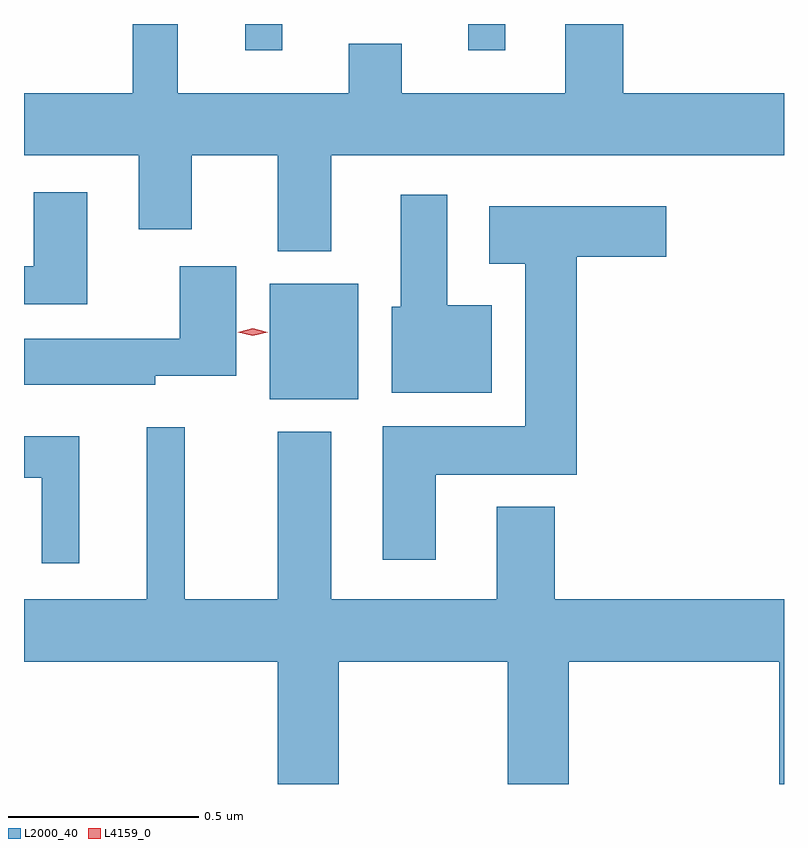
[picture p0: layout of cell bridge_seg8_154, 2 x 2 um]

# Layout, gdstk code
import gdstk
lib = gdstk.Library(unit=1e-6, precision=1e-09)
def R(c, l, rs):  # rectangles x0, y0, x1, y1
    for r in rs: c.add(gdstk.rectangle(r[:2], r[2:], *l))
def P(c, l, *ps):  # polygons
    for p in ps: c.add(gdstk.Polygon(p, *l))
L2000_40 = (2000, 40)
L4159_0 = (4159, 0)

bridge_seg8_154 = lib.new_cell('bridge_seg8_154')
R(bridge_seg8_154, L2000_40, [(582.272,1151.822,582.505,1152.127), (582.207,1152.741,582.304,1152.81), (582.794,1152.741,582.892,1152.81)])
P(bridge_seg8_154, L2000_40, [(582.433,1152.464),(583.625,1152.464),(583.625,1152.628),(583.202,1152.628),(583.202,1152.81),(583.049,1152.81),(583.049,1152.628),(582.619,1152.628),(582.619,1152.758),(582.479,1152.758),(582.479,1152.628),(582.029,1152.628),(582.029,1152.81),(581.911,1152.81),(581.911,1152.628),(581.625,1152.628),(581.625,1152.464),(581.927,1152.464),(581.927,1152.27),(582.067,1152.27),(582.067,1152.464),(582.293,1152.464),(582.293,1152.212),(582.433,1152.212)],
  [(581.791,1152.367),(581.651,1152.367),(581.651,1152.173),(581.625,1152.173),(581.625,1152.072),(581.791,1152.072)],
  [(582.856,1152.07),(582.739,1152.07),(582.739,1152.361),(582.617,1152.361),(582.617,1152.066),(582.593,1152.066),(582.593,1151.84),(582.856,1151.84)],
  [(582.709,1151.624),(583.079,1151.624),(583.079,1152.197),(583.315,1152.197),(583.315,1152.331),(582.849,1152.331),(582.849,1152.179),(582.944,1152.179),(582.944,1151.752),(582.569,1151.752),(582.569,1151.4),(582.709,1151.4)],
  [(581.97,1151.885),(582.184,1151.885),(582.184,1152.172),(582.035,1152.172),(582.035,1151.982),(581.625,1151.982),(581.625,1151.861),(581.97,1151.861)],
  [(582.453,1151.132),(582.898,1151.132),(582.898,1150.81),(583.058,1150.81),(583.058,1151.132),(583.613,1151.132),(583.613,1150.81),(583.625,1150.81),(583.625,1151.296),(583.022,1151.296),(583.022,1151.539),(582.869,1151.539),(582.869,1151.296),(582.433,1151.296),(582.433,1151.737),(582.293,1151.737),(582.293,1151.296),(582.048,1151.296),(582.048,1151.749),(581.948,1151.749),(581.948,1151.296),(581.625,1151.296),(581.625,1151.132),(582.293,1151.132),(582.293,1150.81),(582.453,1150.81)],
  [(581.771,1151.725),(581.625,1151.725),(581.625,1151.616),(581.672,1151.616),(581.672,1151.391),(581.771,1151.391)])
P(bridge_seg8_154, L4159_0, [(582.227,1151.989),(582.187,1151.999),(582.187,1151.999),(582.187,1151.999),(582.227,1152.009),(582.267,1151.999),(582.267,1151.999),(582.267,1151.999)])

lib.write_gds('bridge_seg8_154.gds')
